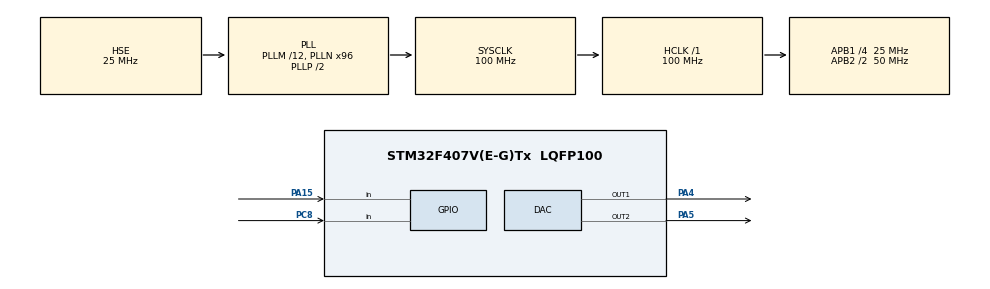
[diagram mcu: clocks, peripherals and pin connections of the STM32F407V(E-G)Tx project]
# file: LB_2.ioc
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Dma.DAC1.0.Direction=DMA_MEMORY_TO_PERIPH
Dma.DAC1.0.FIFOMode=DMA_FIFOMODE_DISABLE
Dma.DAC1.0.Instance=DMA1_Stream5
Dma.DAC1.0.MemDataAlignment=DMA_MDATAALIGN_HALFWORD
Dma.DAC1.0.MemInc=DMA_MINC_ENABLE
Dma.DAC1.0.Mode=DMA_NORMAL
Dma.DAC1.0.PeriphDataAlignment=DMA_PDATAALIGN_HALFWORD
Dma.DAC1.0.PeriphInc=DMA_PINC_DISABLE
Dma.DAC1.0.Priority=DMA_PRIORITY_LOW
Dma.Request0=DAC1
Mcu.Family=STM32F4
Mcu.Name=STM32F407V(E-G)Tx
Mcu.Package=LQFP100
NVIC.DMA1_Stream5_IRQn=true\:0\:0\:false\:false\:true\:false\:true\:true
NVIC.PriorityGroup=NVIC_PRIORITYGROUP_4
PA13.Mode=Serial_Wire
PA13.Signal=SYS_JTMS-SWDIO
PA14.Mode=Serial_Wire
PA14.Signal=SYS_JTCK-SWCLK
PA15.GPIO_PuPd=GPIO_PULLUP
PA15.Signal=GPIO_Input
PA4.Signal=COMP_DAC1_group
PA5.Signal=COMP_DAC2_group
PC8.GPIO_PuPd=GPIO_PULLUP
PC8.Signal=GPIO_Input
PH0-OSC_IN.Mode=HSE-External-Oscillator
PH0-OSC_IN.Signal=RCC_OSC_IN
PH1-OSC_OUT.Mode=HSE-External-Oscillator
PH1-OSC_OUT.Signal=RCC_OSC_OUT
ProjectManager.HeapSize=0x200
ProjectManager.StackSize=0x400
ProjectManager.TargetToolchain=STM32CubeIDE
RCC.48MHZClocksFreq_Value=50000000
RCC.AHBFreq_Value=100000000
RCC.APB1CLKDivider=RCC_HCLK_DIV4
RCC.APB1Freq_Value=25000000
RCC.APB1TimFreq_Value=50000000
RCC.APB2CLKDivider=RCC_HCLK_DIV2
RCC.APB2Freq_Value=50000000
RCC.APB2TimFreq_Value=100000000
RCC.CortexFreq_Value=100000000
RCC.HCLKFreq_Value=100000000
RCC.HSE_VALUE=25000000
RCC.HSI_VALUE=16000000
RCC.PLLM=12
RCC.PLLN=96
RCC.PLLSourceVirtual=RCC_PLLSOURCE_HSE
RCC.SYSCLKFreq_VALUE=100000000
RCC.SYSCLKSource=RCC_SYSCLKSOURCE_PLLCLK
RCC.VCOOutputFreq_Value=200000000
SH.COMP_DAC1_group.0=DAC_OUT1,DAC_OUT1
SH.COMP_DAC2_group.0=DAC_OUT2,DAC_OUT2
TIM2.AutoReloadPreload=TIM_AUTORELOAD_PRELOAD_ENABLE
TIM2.Period=207
TIM2.Prescaler=99
TIM2.TIM_MasterOutputTrigger=TIM_TRGO_UPDATE
TIM3.Channel-Output\ Compare1\ No\ Output=TIM_CHANNEL_1
VP_TIM2_VS_ClockSourceINT.Mode=Internal
VP_TIM3_VS_no_output1.Mode=Output Compare1 No Output
board=custom

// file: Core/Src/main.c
/* USER CODE BEGIN Header */
/**
  ******************************************************************************
  * @file           : main.c
  * @brief          : Main program body
  ******************************************************************************
  * @attention
  *
  * Copyright (c) 2024 STMicroelectronics.
  * All rights reserved.
  *
  * This software is licensed under terms that can be found in the LICENSE file
  * in the root directory of this software component.
  * If no LICENSE file comes with this software, it is provided AS-IS.
  *
  ******************************************************************************
  */
/* USER CODE END Header */
#include "main.h"

/* USER CODE BEGIN Includes */
#define POINTS 80  // К-сть відліків у періоді
uint16_t sineWave[POINTS];
#define AMPLITUDE 0.8  // Амплітуда у В
#define VREF 3.3       // Референсна напруга
#define MAX_CODE 4097  // Макс. значення коду

for (int i = 0; i < POINTS; i++)
{
    sineWave[i] = 2047 + (uint16_t)((MAX_CODE * AMPLITUDE / VREF) * sin(2 * M_PI * i / POINTS));
}

uint16_t txInt16 = 1234; // 16-бітове число для передачі
uint16_t rxInt16;        // 16-бітове число для прийому
float txFloat = 56.78;   // Дійсне число для передавання
float rxFloat;           // Дійсне число для прийамння

uint8_t txBuffer[7];     // Масив для передачі пакету
uint8_t rxBuffer[7];     // Масив для прийому пакету

/* USER CODE END Includes */

DAC_HandleTypeDef hdac;
DMA_HandleTypeDef hdma_dac1;

TIM_HandleTypeDef htim2;
TIM_HandleTypeDef htim3;

void SystemClock_Config(void);
static void MX_GPIO_Init(void);
static void MX_DMA_Init(void);
static void MX_TIM3_Init(void);
static void MX_DAC_Init(void);
static void MX_TIM2_Init(void);

int main(void)
{

  /* MCU Configuration--------------------------------------------------------*/

  /* Reset of all peripherals, Initializes the Flash interface and the Systick. */
  HAL_Init();

  /* Configure the system clock */
  SystemClock_Config();

  /* Initialize all configured peripherals */
  MX_GPIO_Init();
  MX_DMA_Init();
  MX_TIM3_Init();
  MX_DAC_Init();
  MX_TIM2_Init();
  /* USER CODE BEGIN 2 */
  /* USER CODE BEGIN 2 */
  HAL_TIM_Base_Start(&htim2);

  /* USER CODE END 2 */

  /* Infinite loop */
  while (1)
  {

  }
}

void SystemClock_Config(void)
{
  RCC_OscInitTypeDef RCC_OscInitStruct = {0};
  RCC_ClkInitTypeDef RCC_ClkInitStruct = {0};

  /** Configure the main internal regulator output voltage
  */
  __HAL_RCC_PWR_CLK_ENABLE();
  __HAL_PWR_VOLTAGESCALING_CONFIG(PWR_REGULATOR_VOLTAGE_SCALE1);

  /** Initializes the RCC Oscillators according to the specified parameters
  * in the RCC_OscInitTypeDef structure.
  */
  RCC_OscInitStruct.OscillatorType = RCC_OSCILLATORTYPE_HSE;
  RCC_OscInitStruct.HSEState = RCC_HSE_ON;
  RCC_OscInitStruct.PLL.PLLState = RCC_PLL_ON;
  RCC_OscInitStruct.PLL.PLLSource = RCC_PLLSOURCE_HSE;
  RCC_OscInitStruct.PLL.PLLM = 12;
  RCC_OscInitStruct.PLL.PLLN = 96;
  RCC_OscInitStruct.PLL.PLLP = RCC_PLLP_DIV2;
  RCC_OscInitStruct.PLL.PLLQ = 4;
  if (HAL_RCC_OscConfig(&RCC_OscInitStruct) != HAL_OK)
  {
    Error_Handler();
  }

  /** Initializes the CPU, AHB and APB buses clocks
  */
  RCC_ClkInitStruct.ClockType = RCC_CLOCKTYPE_HCLK|RCC_CLOCKTYPE_SYSCLK
                              |RCC_CLOCKTYPE_PCLK1|RCC_CLOCKTYPE_PCLK2;
  RCC_ClkInitStruct.SYSCLKSource = RCC_SYSCLKSOURCE_PLLCLK;
  RCC_ClkInitStruct.AHBCLKDivider = RCC_SYSCLK_DIV1;
  RCC_ClkInitStruct.APB1CLKDivider = RCC_HCLK_DIV4;
  RCC_ClkInitStruct.APB2CLKDivider = RCC_HCLK_DIV2;

  if (HAL_RCC_ClockConfig(&RCC_ClkInitStruct, FLASH_LATENCY_3) != HAL_OK)
  {
    Error_Handler();
  }
}

static void MX_DAC_Init(void)
{

  DAC_ChannelConfTypeDef sConfig = {0};

  /** DAC Initialization
  */
  hdac.Instance = DAC;
  if (HAL_DAC_Init(&hdac) != HAL_OK)
  {
    Error_Handler();
  }

  /** DAC channel OUT1 config
  */
  sConfig.DAC_Trigger = DAC_TRIGGER_NONE;
  sConfig.DAC_OutputBuffer = DAC_OUTPUTBUFFER_ENABLE;
  if (HAL_DAC_ConfigChannel(&hdac, &sConfig, DAC_CHANNEL_1) != HAL_OK)
  {
    Error_Handler();
  }

  /** DAC channel OUT2 config
  */
  if (HAL_DAC_ConfigChannel(&hdac, &sConfig, DAC_CHANNEL_2) != HAL_OK)
  {
    Error_Handler();
  }

}

static void MX_TIM2_Init(void)
{

  TIM_ClockConfigTypeDef sClockSourceConfig = {0};
  TIM_MasterConfigTypeDef sMasterConfig = {0};

  htim2.Instance = TIM2;
  htim2.Init.Prescaler = 99;
  htim2.Init.CounterMode = TIM_COUNTERMODE_UP;
  htim2.Init.Period = 207;
  htim2.Init.ClockDivision = TIM_CLOCKDIVISION_DIV1;
  htim2.Init.AutoReloadPreload = TIM_AUTORELOAD_PRELOAD_ENABLE;
  if (HAL_TIM_Base_Init(&htim2) != HAL_OK)
  {
    Error_Handler();
  }
  sClockSourceConfig.ClockSource = TIM_CLOCKSOURCE_INTERNAL;
  if (HAL_TIM_ConfigClockSource(&htim2, &sClockSourceConfig) != HAL_OK)
  {
    Error_Handler();
  }
  sMasterConfig.MasterOutputTrigger = TIM_TRGO_UPDATE;
  sMasterConfig.MasterSlaveMode = TIM_MASTERSLAVEMODE_DISABLE;
  if (HAL_TIMEx_MasterConfigSynchronization(&htim2, &sMasterConfig) != HAL_OK)
  {
    Error_Handler();
  }

}

static void MX_TIM3_Init(void)
{

  TIM_MasterConfigTypeDef sMasterConfig = {0};
  TIM_OC_InitTypeDef sConfigOC = {0};

  htim3.Instance = TIM3;
  htim3.Init.Prescaler = 0;
  htim3.Init.CounterMode = TIM_COUNTERMODE_UP;
  htim3.Init.Period = 65535;
  htim3.Init.ClockDivision = TIM_CLOCKDIVISION_DIV1;
  htim3.Init.AutoReloadPreload = TIM_AUTORELOAD_PRELOAD_DISABLE;
  if (HAL_TIM_OC_Init(&htim3) != HAL_OK)
  {
    Error_Handler();
  }
  sMasterConfig.MasterOutputTrigger = TIM_TRGO_RESET;
  sMasterConfig.MasterSlaveMode = TIM_MASTERSLAVEMODE_DISABLE;
  if (HAL_TIMEx_MasterConfigSynchronization(&htim3, &sMasterConfig) != HAL_OK)
  {
    Error_Handler();
  }
  sConfigOC.OCMode = TIM_OCMODE_TIMING;
  sConfigOC.Pulse = 0;
  sConfigOC.OCPolarity = TIM_OCPOLARITY_HIGH;
  sConfigOC.OCFastMode = TIM_OCFAST_DISABLE;
  if (HAL_TIM_OC_ConfigChannel(&htim3, &sConfigOC, TIM_CHANNEL_1) != HAL_OK)
  {
    Error_Handler();
  }

}

static void MX_DMA_Init(void)
{

  /* DMA controller clock enable */
  __HAL_RCC_DMA1_CLK_ENABLE();

  /* DMA interrupt init */
  /* DMA1_Stream5_IRQn interrupt configuration */
  HAL_NVIC_SetPriority(DMA1_Stream5_IRQn, 0, 0);
  HAL_NVIC_EnableIRQ(DMA1_Stream5_IRQn);

}

static void MX_GPIO_Init(void)
{
  GPIO_InitTypeDef GPIO_InitStruct = {0};

  /* GPIO Ports Clock Enable */
  __HAL_RCC_GPIOH_CLK_ENABLE();
  __HAL_RCC_GPIOA_CLK_ENABLE();
  __HAL_RCC_GPIOC_CLK_ENABLE();

  /*Configure GPIO pin : PC8 */
  GPIO_InitStruct.Pin = GPIO_PIN_8;
  GPIO_InitStruct.Mode = GPIO_MODE_INPUT;
  GPIO_InitStruct.Pull = GPIO_PULLUP;
  HAL_GPIO_Init(GPIOC, &GPIO_InitStruct);

  /*Configure GPIO pin : PA15 */
  GPIO_InitStruct.Pin = GPIO_PIN_15;
  GPIO_InitStruct.Mode = GPIO_MODE_INPUT;
  GPIO_InitStruct.Pull = GPIO_PULLUP;
  HAL_GPIO_Init(GPIOA, &GPIO_InitStruct);

}

/* USER CODE BEGIN 4 */
void USART_Receive(void) {

    void SendPacket(void)
    {
        txBuffer[0] = 126;                            // Заголовок пакета
        *(uint16_t *)&txBuffer[1] = txInt16;          // 16-бітне число
        *(float *)&txBuffer[3] = txFloat;             // Дійсне число
        HAL_UART_Transmit_DMA(&huart3, txBuffer, 7);  // Передача масиву через USART3
    }

/* USER CODE END 4 */

void Error_Handler(void)
{
  __disable_irq();
  while (1)
  {
  }
}
